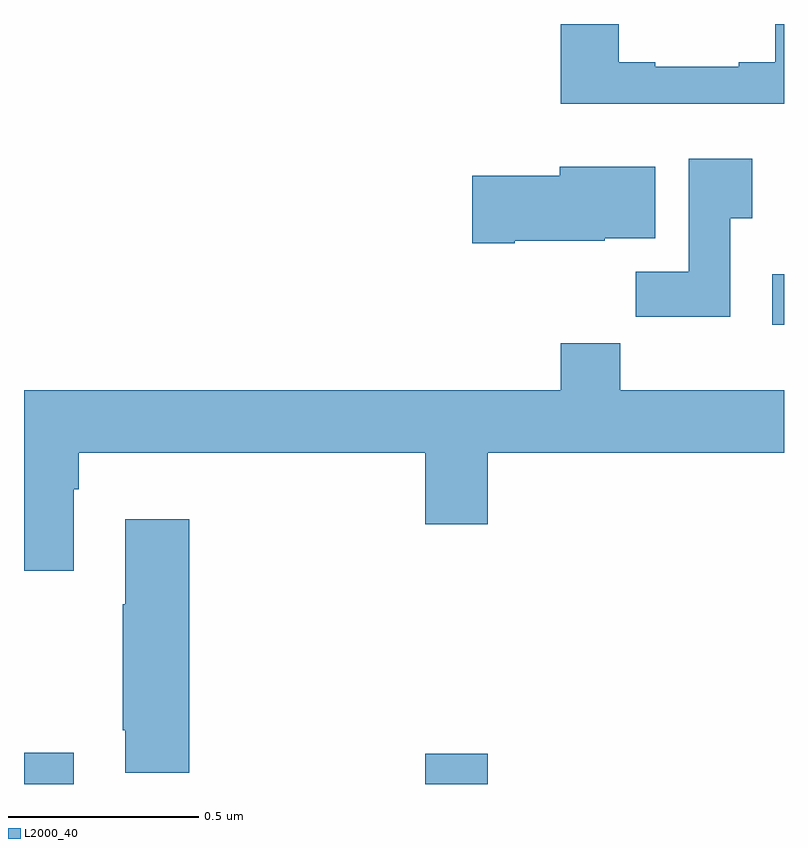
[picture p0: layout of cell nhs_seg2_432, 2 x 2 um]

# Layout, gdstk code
import gdstk
lib = gdstk.Library(unit=1e-6, precision=1e-09)
def R(c, l, rs):  # rectangles x0, y0, x1, y1
    for r in rs: c.add(gdstk.rectangle(r[:2], r[2:], *l))
def P(c, l, *ps):  # polygons
    for p in ps: c.add(gdstk.Polygon(p, *l))
L2000_40 = (2000, 40)

nhs_seg2_432 = lib.new_cell('nhs_seg2_432')
R(nhs_seg2_432, L2000_40, [(116,610.8,116.131,610.882), (117.056,610.8,117.22,610.879), (117.969,612.008,118,612.142)])
P(nhs_seg2_432, L2000_40, [(118,612.8),(117.977,612.8),(117.977,612.7),(117.881,612.7),(117.881,612.687),(117.661,612.687),(117.661,612.7),(117.565,612.7),(117.565,612.8),(117.413,612.8),(117.413,612.59),(118,612.59)],
  [(117.859,612.289),(117.916,612.289),(117.916,612.445),(117.749,612.445),(117.749,612.148),(117.61,612.148),(117.61,612.03),(117.859,612.03)],
  [(117.292,612.23),(117.528,612.23),(117.528,612.236),(117.661,612.236),(117.661,612.424),(117.41,612.424),(117.41,612.401),(117.18,612.401),(117.18,612.223),(117.292,612.223)],
  [(116.131,611.576),(116.144,611.576),(116.144,611.672),(117.056,611.672),(117.056,611.484),(117.22,611.484),(117.22,611.672),(118,611.672),(118,611.836),(117.569,611.836),(117.569,611.96),(117.413,611.96),(117.413,611.836),(116,611.836),(116,611.361),(116.131,611.361)],
  [(116.435,611.497),(116.267,611.497),(116.267,611.273),(116.26,611.273),(116.26,610.942),(116.267,610.942),(116.267,610.83),(116.435,610.83)])

lib.write_gds('nhs_seg2_432.gds')
